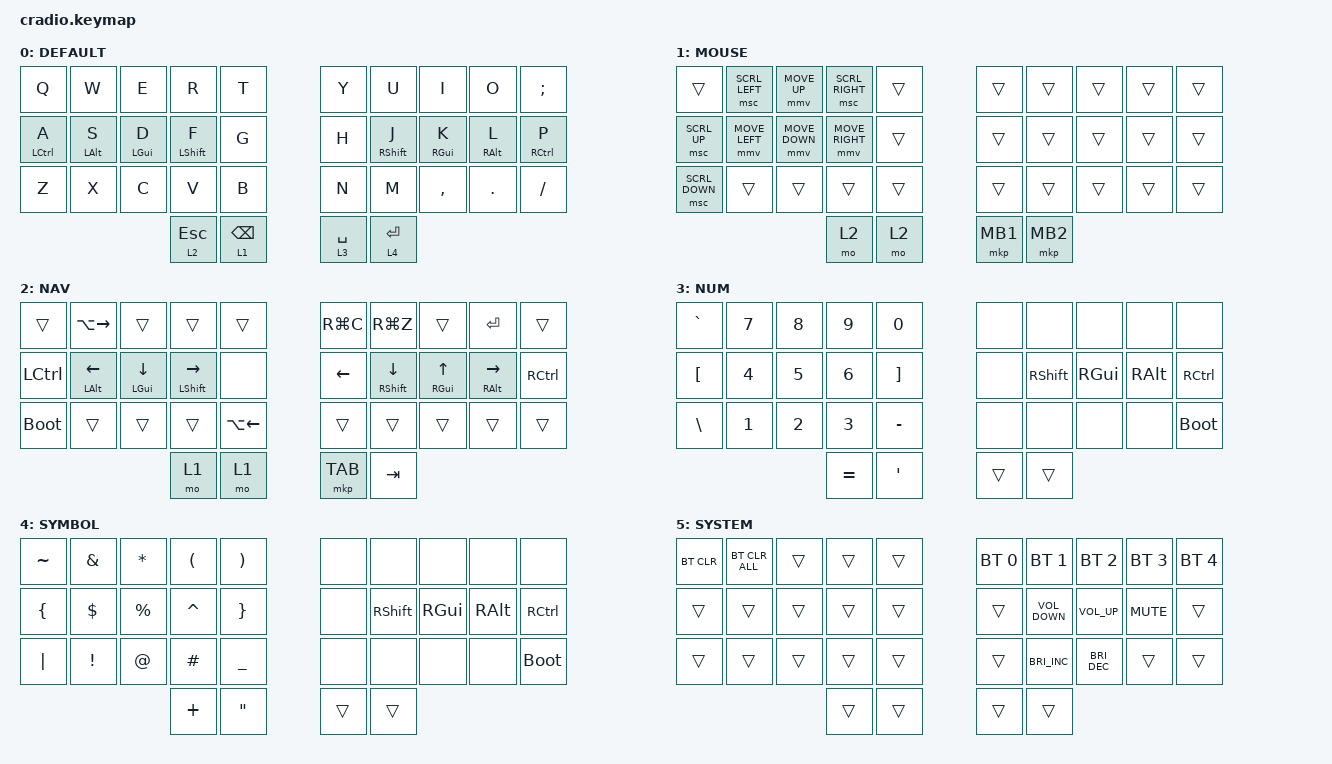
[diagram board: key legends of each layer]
// Copyright (c) 2022 The ZMK Contributors
// SPDX-License-Identifier: MIT

#define ZMK_POINTING_DEFAULT_MOVE_VAL 2500  // 600
#define ZMK_POINTING_DEFAULT_SCRL_VAL 20    // 10

// NOTE: Use the `#define` settings below to customize this keymap!
// For example, here are the main optional features you can enable:

#define DIFFICULTY_LEVEL  4 // 0:custom, 1:easy -> 5:hard (see below)

// TIP: Add more setting overrides here instead of editing them below.
//////////////////////////////////////////////////////////////////////////////
//
// Advanced Home Row Mods (HRM) Example based on
// Sunaku's Keymap v35 -- "Glorious Engrammer"
// - https://github.com/sunaku/glove80-keymaps
//
//////////////////////////////////////////////////////////////////////////////
//
// DIFFICULTY_LEVEL specifies your level of expertise with this keymap.
// It's meant to help newcomers gradually work their way up to mastery.
// You can disable this setting by omitting it or assigning a `0` zero.
//
// #define DIFFICULTY_LEVEL 0 // custom (see defaults below)
// #define DIFFICULTY_LEVEL 1 // novice (500ms)
// #define DIFFICULTY_LEVEL 2 // slower (400ms)
// #define DIFFICULTY_LEVEL 3 // normal (300ms)
// #define DIFFICULTY_LEVEL 4 // faster (200ms)
// #define DIFFICULTY_LEVEL 5 // expert (100ms)
//

#if defined(DIFFICULTY_LEVEL) && DIFFICULTY_LEVEL > 0

#define DIFFICULTY_THRESHOLD ((6-DIFFICULTY_LEVEL)*100)

#ifndef HOMEY_HOLDING_TIME

#define HOMEY_HOLDING_TIME DIFFICULTY_THRESHOLD

#endif
#ifndef INDEX_HOLDING_TIME

#define INDEX_HOLDING_TIME DIFFICULTY_THRESHOLD

#endif
#endif
    //////////////////////////////////////////////////////////////////////////
    //
    // Miryoku layers and home row mods (ported from my QMK endgame)
    // - https://sunaku.github.io/home-row-mods.html#porting-to-zmk
    // - https://github.com/urob/zmk-config#timeless-homerow-mods
    //
    //////////////////////////////////////////////////////////////////////////

    //
    // HOMEY_HOLDING_TYPE defines the flavor of ZMK hold-tap behavior to use
    // for the pinky, ring, and middle fingers (which are assigned to Super,
    // Alt, and Ctrl respectively in the Miryoku system) on home row keys.
    //
    #ifndef HOMEY_HOLDING_TYPE
    #define HOMEY_HOLDING_TYPE "tap-preferred"
    #endif

    //
    // HOMEY_HOLDING_TIME defines how long you need to hold (milliseconds)
    // home row mod keys in order to send their modifiers to the computer
    // (i.e. "register" them) for mod-click mouse usage (e.g. Ctrl-Click).
    //
    #ifndef HOMEY_HOLDING_TIME
    #define HOMEY_HOLDING_TIME 270 // TAPPING_TERM + ALLOW_CROSSOVER_AFTER
    #endif

    //
    // HOMEY_STREAK_DECAY defines how long you need to wait (milliseconds)
    // after typing before you can use home row mods again.  It prevents
    // unintended activation of home row mods when you're actively typing.
    //
    #ifndef HOMEY_STREAK_DECAY
    #define HOMEY_STREAK_DECAY 250
    #endif

    //
    // HOMEY_REPEAT_DECAY defines how much time you have left (milliseconds)
    // after tapping a key to hold it again in order to make it auto-repeat.
    //
    #ifndef HOMEY_REPEAT_DECAY
    #define HOMEY_REPEAT_DECAY 300 // "tap then hold" for key auto-repeat
    #endif

    //
    // INDEX_HOLDING_TYPE defines the flavor of ZMK hold-tap behavior to use
    // for index fingers (which Miryoku assigns to Shift) on home row keys.
    //
    #ifndef INDEX_HOLDING_TYPE
    #define INDEX_HOLDING_TYPE "tap-preferred"
    #endif

    //
    // INDEX_HOLDING_TIME defines how long you need to hold (milliseconds)
    // index finger keys in order to send their modifiers to the computer
    // (i.e. "register" them) for mod-click mouse usage (e.g. Shift-Click).
    //
    #ifndef INDEX_HOLDING_TIME
    #define INDEX_HOLDING_TIME 170
    #endif

    //
    // INDEX_STREAK_DECAY defines how long you need to wait (milliseconds)
    // after typing before you can use home row mods again.  It prevents
    // unintended activation of home row mods when you're actively typing.
    //
    #ifndef INDEX_STREAK_DECAY
    #define INDEX_STREAK_DECAY 150
    #endif

    //
    // INDEX_REPEAT_DECAY defines how much time you have left (milliseconds)
    // after tapping a key to hold it again in order to make it auto-repeat.
    //
    #ifndef INDEX_REPEAT_DECAY
    #define INDEX_REPEAT_DECAY 300 // "tap then hold" for key auto-repeat
    #endif

//
// Glove80 key positions index for positional hold-tap
// - https://discord.com/channels/877392805654306816/937645688244826154/1066713913351221248
// - https://media.discordapp.net/attachments/937645688244826154/1066713913133121556/image.png
//
// |------------------------|------------------------|
// | LEFT_HAND_KEYS         |        RIGHT_HAND_KEYS |
// |                        |                        |
// |  0  1  2  3  4         |          5  6  7  8  9 |
// | 10 11 12 13 14 15      |      16 17 18 19 20 21 |
// | 22 23 24 25 26 27      |      28 29 30 31 32 33 |
// | 34 35 36 37 38 39      |      40 41 42 43 44 45 |
// | 46 47 48 49 50 51      |      58 59 60 61 62 63 |
// | 64 65 66 67 68         |         75 76 77 78 79 |
// |                69 52   |   57 74                |
// |                 70 53  |  56 73                 |
// |                  71 54 | 55 72                  |
// |------------------------|------------------------|
//

#define LEFT_HAND_KEYS      \
          0  1  2  3  4         \
         10 11 12 13 14 15      \
         22 23 24 25 26 27      \
         34 35 36 37 38 39      \
         46 47 48 49 50 51      \
         64 65 66 67 68
#define RIGHT_HAND_KEYS     \
                                           5  6  7  8  9 \
                                       16 17 18 19 20 21 \
                                       28 29 30 31 32 33 \
                                       40 41 42 43 44 45 \
                                       58 59 60 61 62 63 \
                                          75 76 77 78 79
#define THUMB_KEYS          \
                        69 52       57 74                \
                         70 53     56 73                 \
                          71 54   55 72

//
// Home row mods with per-finger configuration settings
//

#ifndef PINKY_HOLDING_TYPE

#define PINKY_HOLDING_TYPE HOMEY_HOLDING_TYPE

#endif
    #ifndef PINKY_HOLDING_TIME

#define PINKY_HOLDING_TIME HOMEY_HOLDING_TIME

#endif
    #ifndef PINKY_STREAK_DECAY

#define PINKY_STREAK_DECAY HOMEY_STREAK_DECAY

#endif
    #ifndef PINKY_REPEAT_DECAY

#define PINKY_REPEAT_DECAY HOMEY_REPEAT_DECAY

#endif
    #ifndef RING1_HOLDING_TYPE

#define RING1_HOLDING_TYPE HOMEY_HOLDING_TYPE

#endif
    #ifndef RING1_HOLDING_TIME

#define RING1_HOLDING_TIME HOMEY_HOLDING_TIME

#endif
    #ifndef RING1_STREAK_DECAY

#define RING1_STREAK_DECAY HOMEY_STREAK_DECAY

#endif
    #ifndef RING1_REPEAT_DECAY

#define RING1_REPEAT_DECAY HOMEY_REPEAT_DECAY

#endif
    #ifndef RING2_HOLDING_TYPE

#define RING2_HOLDING_TYPE HOMEY_HOLDING_TYPE

#endif
    #ifndef RING2_HOLDING_TIME

#define RING2_HOLDING_TIME HOMEY_HOLDING_TIME

#endif
    #ifndef RING2_STREAK_DECAY

#define RING2_STREAK_DECAY HOMEY_STREAK_DECAY

#endif
    #ifndef RING2_REPEAT_DECAY

#define RING2_REPEAT_DECAY HOMEY_REPEAT_DECAY

#endif
    #ifndef MIDDY_HOLDING_TYPE

#define MIDDY_HOLDING_TYPE HOMEY_HOLDING_TYPE

#endif
    #ifndef MIDDY_HOLDING_TIME

#define MIDDY_HOLDING_TIME HOMEY_HOLDING_TIME

#endif
    #ifndef MIDDY_STREAK_DECAY

#define MIDDY_STREAK_DECAY HOMEY_STREAK_DECAY

#endif
    #ifndef MIDDY_REPEAT_DECAY

#define MIDDY_REPEAT_DECAY HOMEY_REPEAT_DECAY

#endif
    #ifndef INDEX_HOLDING_TYPE

#define INDEX_HOLDING_TYPE HOMEY_HOLDING_TYPE

#endif
    #ifndef INDEX_HOLDING_TIME

#define INDEX_HOLDING_TIME HOMEY_HOLDING_TIME

#endif
    #ifndef INDEX_STREAK_DECAY

#define INDEX_STREAK_DECAY HOMEY_STREAK_DECAY

#endif
    #ifndef INDEX_REPEAT_DECAY

#define INDEX_REPEAT_DECAY HOMEY_REPEAT_DECAY

#endif
    #ifndef LEFT_PINKY_HOLDING_TYPE

#define LEFT_PINKY_HOLDING_TYPE PINKY_HOLDING_TYPE

#endif
    #ifndef LEFT_PINKY_HOLDING_TIME

#define LEFT_PINKY_HOLDING_TIME PINKY_HOLDING_TIME

#endif
    #ifndef LEFT_PINKY_STREAK_DECAY

#define LEFT_PINKY_STREAK_DECAY PINKY_STREAK_DECAY

#endif
    #ifndef LEFT_PINKY_REPEAT_DECAY

#define LEFT_PINKY_REPEAT_DECAY PINKY_REPEAT_DECAY

#endif
    #ifndef RIGHT_PINKY_HOLDING_TYPE

#define RIGHT_PINKY_HOLDING_TYPE PINKY_HOLDING_TYPE

#endif
    #ifndef RIGHT_PINKY_HOLDING_TIME

#define RIGHT_PINKY_HOLDING_TIME PINKY_HOLDING_TIME

#endif
    #ifndef RIGHT_PINKY_STREAK_DECAY

#define RIGHT_PINKY_STREAK_DECAY PINKY_STREAK_DECAY

#endif
    #ifndef RIGHT_PINKY_REPEAT_DECAY

#define RIGHT_PINKY_REPEAT_DECAY PINKY_REPEAT_DECAY

#endif
    #ifndef LEFT_RING1_HOLDING_TYPE

#define LEFT_RING1_HOLDING_TYPE RING1_HOLDING_TYPE

#endif
    #ifndef LEFT_RING1_HOLDING_TIME

#define LEFT_RING1_HOLDING_TIME RING1_HOLDING_TIME

#endif
    #ifndef LEFT_RING1_STREAK_DECAY

#define LEFT_RING1_STREAK_DECAY RING1_STREAK_DECAY

#endif
    #ifndef LEFT_RING1_REPEAT_DECAY

#define LEFT_RING1_REPEAT_DECAY RING1_REPEAT_DECAY

#endif
    #ifndef RIGHT_INDEX_HOLDING_TYPE

#define RIGHT_INDEX_HOLDING_TYPE INDEX_HOLDING_TYPE

#endif
    #ifndef RIGHT_INDEX_HOLDING_TIME

#define RIGHT_INDEX_HOLDING_TIME INDEX_HOLDING_TIME

#endif
    #ifndef RIGHT_INDEX_STREAK_DECAY

#define RIGHT_INDEX_STREAK_DECAY INDEX_STREAK_DECAY

#endif
    #ifndef RIGHT_INDEX_REPEAT_DECAY

#define RIGHT_INDEX_REPEAT_DECAY INDEX_REPEAT_DECAY

#endif
    #ifndef LEFT_INDEX_HOLDING_TYPE

#define LEFT_INDEX_HOLDING_TYPE INDEX_HOLDING_TYPE

#endif
    #ifndef LEFT_INDEX_HOLDING_TIME

#define LEFT_INDEX_HOLDING_TIME INDEX_HOLDING_TIME

#endif
    #ifndef LEFT_INDEX_STREAK_DECAY

#define LEFT_INDEX_STREAK_DECAY INDEX_STREAK_DECAY

#endif
    #ifndef LEFT_INDEX_REPEAT_DECAY

#define LEFT_INDEX_REPEAT_DECAY INDEX_REPEAT_DECAY

#endif
    #ifndef RIGHT_MIDDY_HOLDING_TYPE

#define RIGHT_MIDDY_HOLDING_TYPE MIDDY_HOLDING_TYPE

#endif
    #ifndef RIGHT_MIDDY_HOLDING_TIME

#define RIGHT_MIDDY_HOLDING_TIME MIDDY_HOLDING_TIME

#endif
    #ifndef RIGHT_MIDDY_STREAK_DECAY

#define RIGHT_MIDDY_STREAK_DECAY MIDDY_STREAK_DECAY

#endif
    #ifndef RIGHT_MIDDY_REPEAT_DECAY

#define RIGHT_MIDDY_REPEAT_DECAY MIDDY_REPEAT_DECAY

#endif
    #ifndef LEFT_MIDDY_HOLDING_TYPE

#define LEFT_MIDDY_HOLDING_TYPE MIDDY_HOLDING_TYPE

#endif
    #ifndef LEFT_MIDDY_HOLDING_TIME

#define LEFT_MIDDY_HOLDING_TIME MIDDY_HOLDING_TIME

#endif
    #ifndef LEFT_MIDDY_STREAK_DECAY

#define LEFT_MIDDY_STREAK_DECAY MIDDY_STREAK_DECAY

#endif
    #ifndef LEFT_MIDDY_REPEAT_DECAY

#define LEFT_MIDDY_REPEAT_DECAY MIDDY_REPEAT_DECAY

#endif
    #ifndef RIGHT_RING2_HOLDING_TYPE

#define RIGHT_RING2_HOLDING_TYPE RING2_HOLDING_TYPE

#endif
    #ifndef RIGHT_RING2_HOLDING_TIME

#define RIGHT_RING2_HOLDING_TIME RING2_HOLDING_TIME

#endif
    #ifndef RIGHT_RING2_STREAK_DECAY

#define RIGHT_RING2_STREAK_DECAY RING2_STREAK_DECAY

#endif
    #ifndef RIGHT_RING2_REPEAT_DECAY

#define RIGHT_RING2_REPEAT_DECAY RING2_REPEAT_DECAY

#endif
    #ifndef LEFT_RING2_HOLDING_TYPE

#define LEFT_RING2_HOLDING_TYPE RING2_HOLDING_TYPE

#endif
    #ifndef LEFT_RING2_HOLDING_TIME

#define LEFT_RING2_HOLDING_TIME RING2_HOLDING_TIME

#endif
    #ifndef LEFT_RING2_STREAK_DECAY

#define LEFT_RING2_STREAK_DECAY RING2_STREAK_DECAY

#endif
    #ifndef LEFT_RING2_REPEAT_DECAY

#define LEFT_RING2_REPEAT_DECAY RING2_REPEAT_DECAY

#endif
    #ifndef RIGHT_RING1_HOLDING_TYPE

#define RIGHT_RING1_HOLDING_TYPE RING1_HOLDING_TYPE

#endif
    #ifndef RIGHT_RING1_HOLDING_TIME

#define RIGHT_RING1_HOLDING_TIME RING1_HOLDING_TIME

#endif
    #ifndef RIGHT_RING1_STREAK_DECAY

#define RIGHT_RING1_STREAK_DECAY RING1_STREAK_DECAY

#endif
    #ifndef RIGHT_RING1_REPEAT_DECAY

#define RIGHT_RING1_REPEAT_DECAY RING1_REPEAT_DECAY

#endif

#include <behaviors.dtsi>
#include <dt-bindings/zmk/bt.h>
#include <dt-bindings/zmk/keys.h>
#include <dt-bindings/zmk/pointing.h>

// https: //zmk.dev/docs/development/hardware-integration/soft-off-setup?advanced-methods=wakeup&kscan-type=dkscan

/ {
    keys {
        compatible = "gpio-keys";

        soft_off_gpio_key: soft_off_gpio_key { gpios = <&gpio1 6 (GPIO_ACTIVE_LOW | GPIO_PULL_UP)>; };
    };

    wakeup_scan: wakeup_scan {
        compatible = "zmk,kscan-gpio-direct";
        input-keys = <&soft_off_gpio_key>;
        wakeup-source;
    };

    side_band_behavior_triggers: side_band_behavior_triggers {
        compatible = "zmk,kscan-sideband-behaviors";
        kscan = <&wakeup_scan>;
        auto-enable;
        wakeup-source;
    };

    soft_off_wakers {
        compatible = "zmk,soft-off-wakeup-sources";
        wakeup-sources = <&wakeup_scan>;
    };
};

/ {
    chosen { zmk,charmap = &charmap_us; };

    behaviors {
        left_pinky: homey_left_pinky {
            compatible = "zmk,behavior-hold-tap";
            flavor =
            LEFT_PINKY_HOLDING_TYPE;
            hold-trigger-key-positions = <RIGHT_HAND_KEYS THUMB_KEYS>;
            hold-trigger-on-release; // wait for other home row mods
            tapping-term-ms = <LEFT_PINKY_HOLDING_TIME>;
            quick-tap-ms = <LEFT_PINKY_REPEAT_DECAY>;
            require-prior-idle-ms = <LEFT_PINKY_STREAK_DECAY>;
            #binding-cells = <2>;
            bindings = <&kp>, <&kp>;
        };

        right_pinky: homey_right_pinky {
            compatible = "zmk,behavior-hold-tap";
            flavor =
            RIGHT_PINKY_HOLDING_TYPE;
            hold-trigger-key-positions = <LEFT_HAND_KEYS THUMB_KEYS>;
            hold-trigger-on-release; // wait for other home row mods
            tapping-term-ms = <RIGHT_PINKY_HOLDING_TIME>;
            quick-tap-ms = <RIGHT_PINKY_REPEAT_DECAY>;
            require-prior-idle-ms = <RIGHT_PINKY_STREAK_DECAY>;
            #binding-cells = <2>;
            bindings = <&kp>, <&kp>;
        };

        left_ring1: homey_left_ring1 {
            compatible = "zmk,behavior-hold-tap";
            flavor =
            LEFT_RING1_HOLDING_TYPE;
            hold-trigger-key-positions = <RIGHT_HAND_KEYS THUMB_KEYS>;
            hold-trigger-on-release; // wait for other home row mods
            tapping-term-ms = <LEFT_RING1_HOLDING_TIME>;
            quick-tap-ms = <LEFT_RING1_REPEAT_DECAY>;
            require-prior-idle-ms = <LEFT_RING1_STREAK_DECAY>;
            #binding-cells = <2>;
            bindings = <&kp>, <&kp>;
        };

        right_ring1: homey_right_ring1 {
            compatible = "zmk,behavior-hold-tap";
            flavor =
            RIGHT_RING1_HOLDING_TYPE;
            hold-trigger-key-positions = <LEFT_HAND_KEYS THUMB_KEYS>;
            hold-trigger-on-release; // wait for other home row mods
            tapping-term-ms = <RIGHT_RING1_HOLDING_TIME>;
            quick-tap-ms = <RIGHT_RING1_REPEAT_DECAY>;
            require-prior-idle-ms = <RIGHT_RING1_STREAK_DECAY>;
            #binding-cells = <2>;
            bindings = <&kp>, <&kp>;
        };

        left_ring2: homey_left_ring2 {
            compatible = "zmk,behavior-hold-tap";
            flavor =
            LEFT_RING2_HOLDING_TYPE;
            hold-trigger-key-positions = <RIGHT_HAND_KEYS THUMB_KEYS>;
            hold-trigger-on-release; // wait for other home row mods
            tapping-term-ms = <LEFT_RING2_HOLDING_TIME>;
            quick-tap-ms = <LEFT_RING2_REPEAT_DECAY>;
            require-prior-idle-ms = <LEFT_RING2_STREAK_DECAY>;
            #binding-cells = <2>;
            bindings = <&kp>, <&kp>;
        };

        right_ring2: homey_right_ring2 {
            compatible = "zmk,behavior-hold-tap";
            flavor =
            RIGHT_RING2_HOLDING_TYPE;
            hold-trigger-key-positions = <LEFT_HAND_KEYS THUMB_KEYS>;
            hold-trigger-on-release; // wait for other home row mods
            tapping-term-ms = <RIGHT_RING2_HOLDING_TIME>;
            quick-tap-ms = <RIGHT_RING2_REPEAT_DECAY>;
            require-prior-idle-ms = <RIGHT_RING2_STREAK_DECAY>;
            #binding-cells = <2>;
            bindings = <&kp>, <&kp>;
        };

        left_middy: homey_left_middy {
            compatible = "zmk,behavior-hold-tap";
            flavor =
            LEFT_MIDDY_HOLDING_TYPE;
            hold-trigger-key-positions = <RIGHT_HAND_KEYS THUMB_KEYS>;
            hold-trigger-on-release; // wait for other home row mods
            tapping-term-ms = <LEFT_MIDDY_HOLDING_TIME>;
            quick-tap-ms = <LEFT_MIDDY_REPEAT_DECAY>;
            require-prior-idle-ms = <LEFT_MIDDY_STREAK_DECAY>;
            #binding-cells = <2>;
            bindings = <&kp>, <&kp>;
        };

        right_middy: homey_right_middy {
            compatible = "zmk,behavior-hold-tap";
            flavor =
            RIGHT_MIDDY_HOLDING_TYPE;
            hold-trigger-key-positions = <LEFT_HAND_KEYS THUMB_KEYS>;
            hold-trigger-on-release; // wait for other home row mods
            tapping-term-ms = <RIGHT_MIDDY_HOLDING_TIME>;
            quick-tap-ms = <RIGHT_MIDDY_REPEAT_DECAY>;
            require-prior-idle-ms = <RIGHT_MIDDY_STREAK_DECAY>;
            #binding-cells = <2>;
            bindings = <&kp>, <&kp>;
        };

        left_index: homey_left_index {
            compatible = "zmk,behavior-hold-tap";
            flavor =
            LEFT_INDEX_HOLDING_TYPE;
            hold-trigger-key-positions = <RIGHT_HAND_KEYS THUMB_KEYS>;
            hold-trigger-on-release; // wait for other home row mods
            tapping-term-ms = <LEFT_INDEX_HOLDING_TIME>;
            quick-tap-ms = <LEFT_INDEX_REPEAT_DECAY>;
            require-prior-idle-ms = <LEFT_INDEX_STREAK_DECAY>;
            #binding-cells = <2>;
            bindings = <&kp>, <&kp>;
        };

        right_index: homey_right_index {
            compatible = "zmk,behavior-hold-tap";
            flavor =
            RIGHT_INDEX_HOLDING_TYPE;
            hold-trigger-key-positions = <LEFT_HAND_KEYS THUMB_KEYS>;
            hold-trigger-on-release; // wait for other home row mods
            tapping-term-ms = <RIGHT_INDEX_HOLDING_TIME>;
            quick-tap-ms = <RIGHT_INDEX_REPEAT_DECAY>;
            require-prior-idle-ms = <RIGHT_INDEX_STREAK_DECAY>;
            #binding-cells = <2>;
            bindings = <&kp>, <&kp>;
        };

        ht: hold_tap {
            label = "hold_tap";
            compatible = "zmk,behavior-hold-tap";
            #binding-cells = <2>;
            flavor = "balanced";
            tapping-term-ms = <200>;
            quick-tap-ms = <150>;
            global-quick-tap;
            bindings = <&kp>, <&kp>;
        };

        mmv {
            acceleration-exponent = <1>;      // 1
            time-to-max-speed-ms = <300>;    // 40
            delay-ms = <0>;                   // 0
        };

        msc {
            acceleration-exponent = <0>;      // 0
            time-to-max-speed-ms = <40>;      // 500
            delay-ms = <0>;                   // 10
        };
    };

    conditional_layers {
        compatible = "zmk,conditional-layers";

        tri_layer {
            if-layers = <2 1>;
            then-layer = <5>;
        };
    };

    combos { compatible = "zmk,combos"; };

    keymap {
        compatible = "zmk,keymap";

        default_layer {
            display-name = "DEFAULT";
            bindings = <
&kp Q                &kp W               &kp E               &kp R                &kp T              &kp Y        &kp U                 &kp I                &kp O                &kp SEMICOLON
&left_pinky LCTRL A  &left_ring1 LALT S  &left_middy LGUI D  &left_index LSHFT F  &kp G              &kp H        &right_index RSHFT J  &right_middy RGUI K  &right_ring1 RALT L  &right_pinky RCTRL P
&kp Z                &kp X               &kp C               &kp V                &kp B              &kp N        &kp M                 &kp COMMA            &kp DOT              &kp SLASH
                                                             &lt 2 ESCAPE         &lt 1 BACKSPACE    &lt 3 SPACE  &lt 4 ENTER
            >;
        };

        mouse {
            display-name = "MOUSE";
            bindings = <
&trans          &msc SCRL_LEFT  &mmv MOVE_UP    &msc SCRL_RIGHT  &trans    &trans    &trans    &trans  &trans  &trans
&msc SCRL_UP    &mmv MOVE_LEFT  &mmv MOVE_DOWN  &mmv MOVE_RIGHT  &trans    &trans    &trans    &trans  &trans  &trans
&msc SCRL_DOWN  &trans          &trans          &trans           &trans    &trans    &trans    &trans  &trans  &trans
                                                &mo 2            &mo 2     &mkp MB1  &mkp MB2
            >;
        };

        nav {
            display-name = "NAV";
            bindings = <
&trans       &kp LA(RIGHT)          &trans                 &trans                   &trans                &kp RG(C)  &kp RG(Z)                &trans                &kp ENTER                &trans
&kp LCTRL    &left_ring1 LALT LEFT  &left_middy LGUI DOWN  &left_index LSHFT RIGHT  &none                 &kp LEFT   &right_index RSHFT DOWN  &right_middy RGUI UP  &right_ring1 RALT RIGHT  &kp RCTRL
&bootloader  &trans                 &trans                 &trans                   &kp LA(LEFT_ARROW)    &trans     &trans                   &trans                &trans                   &trans
                                                           &mo 1                    &mo 1                 &mkp TAB   &kp TAB
            >;
        };

        numbers {
            display-name = "NUM";
            bindings = <
&kp GRAVE  &kp N7  &kp N8  &kp N9     &kp N0       &none   &none      &none     &none     &none
&kp LBKT   &kp N4  &kp N5  &kp N6     &kp RBKT     &none   &kp RSHFT  &kp RGUI  &kp RALT  &kp RCTRL
&kp BSLH   &kp N1  &kp N2  &kp N3     &kp MINUS    &none   &none      &none     &none     &bootloader
                           &kp EQUAL  &kp SQT      &trans  &trans
            >;
        };

        symbol {
            display-name = "SYMBOL";
            bindings = <
&kp TILDE       &kp AMPERSAND    &kp ASTERISK  &kp LEFT_PARENTHESIS  &kp RIGHT_PARENTHESIS    &none   &none      &none     &none     &none
&kp LEFT_BRACE  &kp DOLLAR       &kp PERCENT   &kp CARET             &kp RIGHT_BRACE          &none   &kp RSHFT  &kp RGUI  &kp RALT  &kp RCTRL
&kp PIPE        &kp EXCLAMATION  &kp AT_SIGN   &kp HASH              &kp UNDERSCORE           &none   &none      &none     &none     &bootloader
                                               &kp PLUS              &kp DOUBLE_QUOTES        &trans  &trans
            >;
        };

        system {
            display-name = "SYSTEM";
            bindings = <
&bt BT_CLR  &bt BT_CLR_ALL  &trans  &trans  &trans    &bt BT_SEL 0  &bt BT_SEL 1          &bt BT_SEL 2          &bt BT_SEL 3  &bt BT_SEL 4
&trans      &trans          &trans  &trans  &trans    &trans        &kp C_VOLUME_DOWN     &kp C_VOLUME_UP       &kp K_MUTE    &trans
&trans      &trans          &trans  &trans  &trans    &trans        &kp C_BRIGHTNESS_INC  &kp C_BRIGHTNESS_DEC  &trans        &trans
                                    &trans  &trans    &trans        &trans
            >;
        };
    };
};
